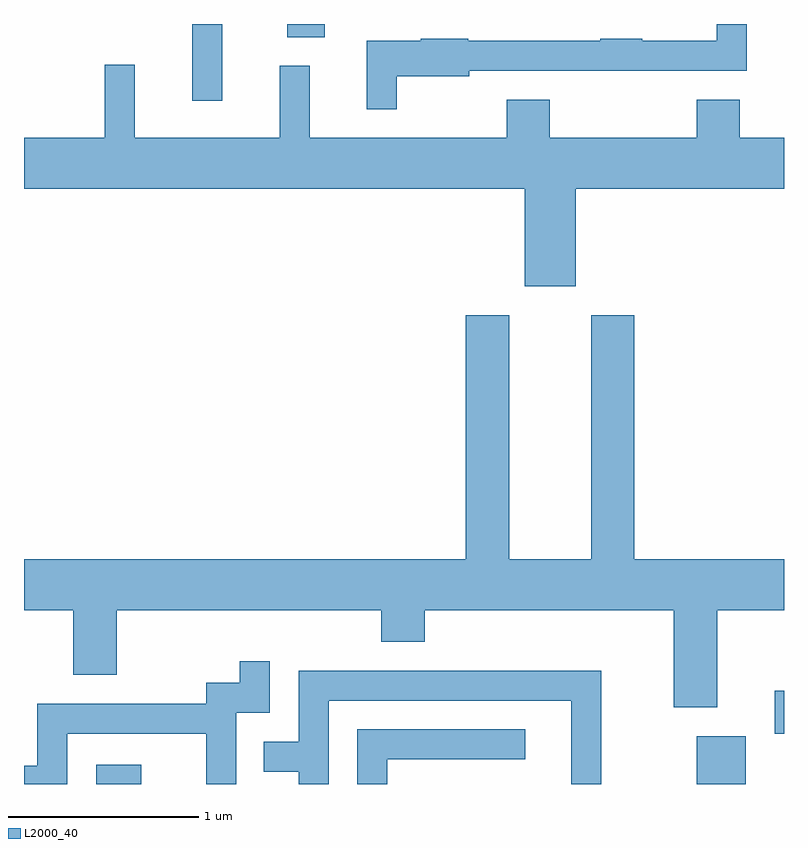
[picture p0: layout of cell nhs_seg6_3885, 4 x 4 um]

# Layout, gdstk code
import gdstk
lib = gdstk.Library(unit=1e-6, precision=1e-09)
def R(c, l, rs):  # rectangles x0, y0, x1, y1
    for r in rs: c.add(gdstk.rectangle(r[:2], r[2:], *l))
def P(c, l, *ps):  # polygons
    for p in ps: c.add(gdstk.Polygon(p, *l))
L2000_40 = (2000, 40)

nhs_seg6_3885 = lib.new_cell('nhs_seg6_3885')
R(nhs_seg6_3885, L2000_40, [(301.991,1620.162,302.228,1620.264), (305.151,1620.162,305.409,1620.414), (305.561,1620.426,305.611,1620.654), (302.496,1623.758,302.654,1624.162), (302.996,1624.091,303.194,1624.162)])
P(nhs_seg6_3885, L2000_40, [(303.574,1623.886),(303.954,1623.886),(303.954,1623.916),(305.414,1623.916),(305.414,1624.162),(305.256,1624.162),(305.256,1624.074),(304.865,1624.074),(304.865,1624.084),(304.645,1624.084),(304.645,1624.074),(303.95,1624.074),(303.95,1624.084),(303.7,1624.084),(303.7,1624.074),(303.416,1624.074),(303.416,1623.713),(303.574,1623.713)],
  [(304.514,1623.296),(305.611,1623.296),(305.611,1623.564),(305.379,1623.564),(305.379,1623.764),(305.151,1623.764),(305.151,1623.564),(304.379,1623.564),(304.379,1623.764),(304.151,1623.764),(304.151,1623.564),(303.114,1623.564),(303.114,1623.943),(302.956,1623.943),(302.956,1623.564),(302.194,1623.564),(302.194,1623.948),(302.036,1623.948),(302.036,1623.564),(301.611,1623.564),(301.611,1623.296),(304.246,1623.296),(304.246,1622.781),(304.514,1622.781)],
  [(305.259,1621.076),(305.611,1621.076),(305.611,1621.344),(304.824,1621.344),(304.824,1622.629),(304.596,1622.629),(304.596,1621.344),(304.164,1621.344),(304.164,1622.629),(303.936,1622.629),(303.936,1621.344),(301.611,1621.344),(301.611,1621.076),(301.871,1621.076),(301.871,1620.736),(302.099,1620.736),(302.099,1621.076),(303.491,1621.076),(303.491,1620.911),(303.719,1620.911),(303.719,1621.076),(305.031,1621.076),(305.031,1620.566),(305.259,1620.566)],
  [(301.839,1620.426),(302.571,1620.426),(302.571,1620.162),(302.729,1620.162),(302.729,1620.536),(302.904,1620.536),(302.904,1620.808),(302.746,1620.808),(302.746,1620.694),(302.571,1620.694),(302.571,1620.584),(301.681,1620.584),(301.681,1620.259),(301.611,1620.259),(301.611,1620.162),(301.839,1620.162)],
  [(303.214,1620.601),(304.491,1620.601),(304.491,1620.162),(304.649,1620.162),(304.649,1620.759),(303.056,1620.759),(303.056,1620.384),(302.873,1620.384),(302.873,1620.226),(303.056,1620.226),(303.056,1620.162),(303.214,1620.162)],
  [(303.524,1620.291),(304.248,1620.291),(304.248,1620.449),(303.366,1620.449),(303.366,1620.162),(303.524,1620.162)])

lib.write_gds('nhs_seg6_3885.gds')
